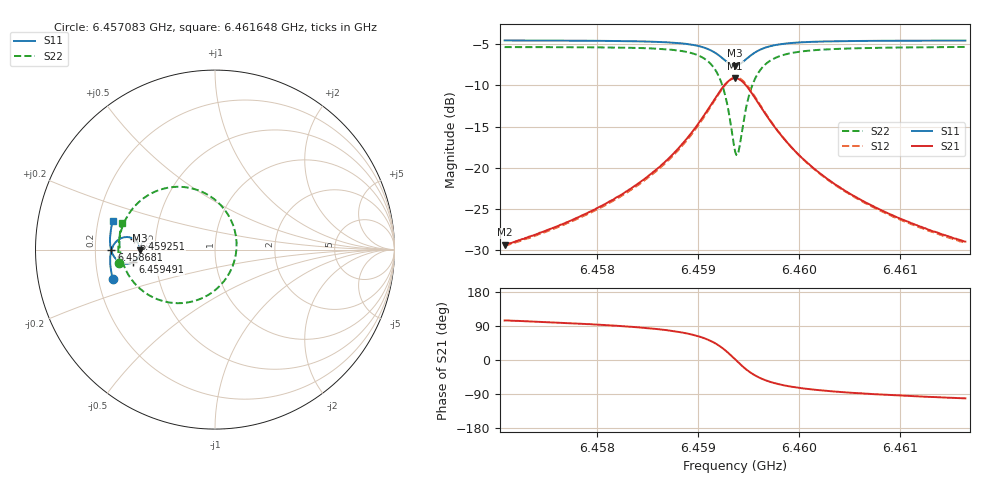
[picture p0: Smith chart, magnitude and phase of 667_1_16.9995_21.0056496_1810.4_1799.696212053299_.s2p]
#  HZ  S  RI  R  50.00
! Rohde & Schwarz Vector Network Analyzer
! Rohde-Schwarz,ZNB20-2Port,1311601062101988,3.16
! Created: UTC 3/20/2024, 11:21:59 PM
! freq[Hz]  re:S11  im:S11  re:S21  im:S21  re:S12  im:S12  re:S22  im:S22
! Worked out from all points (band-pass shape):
!   401 points, 6.457083 GHz to 6.461648 GHz, reference 50 ohm
!   highest |S21| = -9.14 dB at 6.459366 GHz (marker M1); lowest = -29.4 dB at 6.457083 GHz (marker M2)
!   |S21| within 3 dB of the highest: 6.459139 GHz to 6.459595 GHz (456.2 kHz wide, 0.00706 % of centre)
!   lowest |S11| = -7.6 dB at 6.459366 GHz (marker M3), VSWR 2.43, Z = 20.6 - j0.209 ohm
!   |S11| at or under -10 dB: nowhere
!   |S22| runs from -18.5 to -5.3 dB; largest |S21 - S12| = 0.014
!   S11 on the Smith chart (normalised r, x): 6.457083 GHz: 0.26, -0.13; 6.458681 GHz: 0.27, -0.00; 6.459251 GHz: 0.37, +0.06; 6.459491 GHz: 0.37, -0.07; 6.461648 GHz: 0.26, +0.13
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6.4570828e9  -0.569 -0.1641  -0.00843 0.033  -0.00672 0.0327  -0.5342 -0.0759
6.4578475e9  -0.5819 -0.0968  -0.00497 0.0511  -0.00229 0.0503  -0.5382 0.0144
6.4582356e9  -0.5844 -0.0581  0.00062 0.0684  0.0037 0.0672  -0.5303 0.0756
6.4586122e9  -0.58 -0.0133  0.0157 0.0993  0.0196 0.0965  -0.5023 0.1593
6.4586807e9  -0.5775 -0.0038  0.0209 0.1078  0.0251 0.1045  -0.492 0.1795
6.4588748e9  -0.5646 0.0265  0.0482 0.1387  0.0521 0.1334  -0.441 0.2483
6.4590231e9  -0.5415 0.0525  0.0938 0.1687  0.097 0.1619  -0.3566 0.3122
6.4591601e9  -0.4975 0.0698  0.1814 0.1848  0.1823 0.1772  -0.1962 0.3498
6.4592514e9  -0.4528 0.0594  0.2717 0.153  0.2717 0.1472  -0.0291 0.2985
6.4593199e9  -0.4235 0.027  0.3325 0.0806  0.3346 0.0754  0.0872 0.168
6.4593656e9  -0.4165 -0.0042  0.3491 0.0119  0.3528 0.0052  0.1202 0.0397
6.4593998e9  -0.4204 -0.0281  0.3431 -0.0412  0.3471 -0.05  0.1085 -0.0612
6.4594455e9  -0.4362 -0.0547  0.3142 -0.1018  0.3166 -0.1137  0.0499 -0.1762
6.4594911e9  -0.4585 -0.0712  0.2714 -0.1434  0.2707 -0.1567  -0.0368 -0.2523
6.4595368e9  -0.4816 -0.0782  0.2261 -0.1659  0.2222 -0.1792  -0.1278 -0.2896
6.4595824e9  -0.5024 -0.0781  0.1849 -0.1744  0.1788 -0.1863  -0.2091 -0.2985
6.4597308e9  -0.5467 -0.0574  0.0957 -0.1598  0.0871 -0.1661  -0.3794 -0.2469
6.4598906e9  -0.5683 -0.0293  0.0505 -0.131  0.0427 -0.1337  -0.4603 -0.1726
6.4601303e9  -0.5808 0.00642  0.0212 -0.0986  0.0154 -0.0991  -0.5081 -0.0889
6.4604841e9  -0.5851 0.0487  0.00511 -0.0705  0.00113 -0.07  -0.5291 -0.00652
6.460895e9  -0.5827 0.0901  -0.00216 -0.0524  -0.00498 -0.0514  -0.5323 0.0598
6.4616484e9  -0.57 0.1568  -0.00694 -0.0349  -0.00865 -0.034  -0.5199 0.1493
